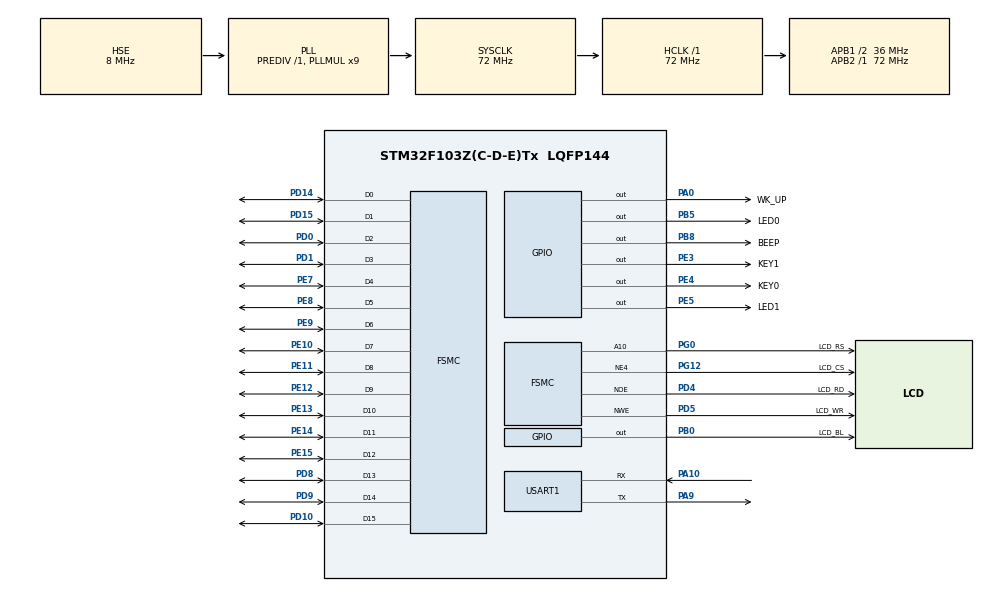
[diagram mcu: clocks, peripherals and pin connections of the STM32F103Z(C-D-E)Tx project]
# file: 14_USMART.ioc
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FSMC.AddressSetupTime1=0
FSMC.BusTurnAroundDuration1=15
FSMC.DataSetupTime1=15
FSMC.ExtendedAddressSetupTime1=0
FSMC.ExtendedDataSetupTime1=1
FSMC.ExtendedMode1=FSMC_EXTENDED_MODE_ENABLE
Mcu.Family=STM32F1
Mcu.Name=STM32F103Z(C-D-E)Tx
Mcu.Package=LQFP144
NVIC.PriorityGroup=NVIC_PRIORITYGROUP_2
NVIC.TIM4_IRQn=true\:2\:1\:true\:false\:true\:true\:true\:true
NVIC.USART1_IRQn=true\:2\:2\:true\:false\:true\:true\:true\:true
OSC_IN.Mode=HSE-External-Oscillator
OSC_IN.Signal=RCC_OSC_IN
OSC_OUT.Mode=HSE-External-Oscillator
OSC_OUT.Signal=RCC_OSC_OUT
PA0-WKUP.GPIO_Label=WK_UP
PA0-WKUP.GPIO_PuPd=GPIO_PULLDOWN
PA0-WKUP.GPIO_Speed=GPIO_SPEED_FREQ_HIGH
PA0-WKUP.PinState=GPIO_PIN_RESET
PA0-WKUP.Signal=GPIO_Output
PA10.Mode=Asynchronous
PA10.Signal=USART1_RX
PA13.Mode=Serial_Wire
PA13.Signal=SYS_JTMS-SWDIO
PA14.Mode=Serial_Wire
PA14.Signal=SYS_JTCK-SWCLK
PA9.Mode=Asynchronous
PA9.Signal=USART1_TX
PB0.GPIO_Label=LCD_BL
PB0.GPIO_PuPd=GPIO_PULLUP
PB0.GPIO_Speed=GPIO_SPEED_FREQ_HIGH
PB0.PinState=GPIO_PIN_SET
PB0.Signal=GPIO_Output
PB5.GPIO_Label=LED0
PB5.GPIO_PuPd=GPIO_PULLUP
PB5.GPIO_Speed=GPIO_SPEED_FREQ_HIGH
PB5.PinState=GPIO_PIN_SET
PB5.Signal=GPIO_Output
PB8.GPIO_Label=BEEP
PB8.GPIO_ModeDefaultOutputPP=GPIO_MODE_OUTPUT_PP
PB8.GPIO_PuPd=GPIO_PULLDOWN
PB8.GPIO_Speed=GPIO_SPEED_FREQ_HIGH
PB8.PinState=GPIO_PIN_RESET
PB8.Signal=GPIO_Output
PC14-OSC32_IN.Mode=LSE-External-Oscillator
PC14-OSC32_IN.Signal=RCC_OSC32_IN
PC15-OSC32_OUT.Mode=LSE-External-Oscillator
PC15-OSC32_OUT.Signal=RCC_OSC32_OUT
PD0.Signal=FSMC_D2_DA2
PD1.Signal=FSMC_D3_DA3
PD10.Signal=FSMC_D15_DA15
PD14.Signal=FSMC_D0_DA0
PD15.Signal=FSMC_D1_DA1
PD4.GPIO_Label=LCD_RD
PD4.Signal=FSMC_NOE
PD5.GPIO_Label=LCD_WR
PD5.Signal=FSMC_NWE
PD8.Signal=FSMC_D13_DA13
PD9.Signal=FSMC_D14_DA14
PE10.Signal=FSMC_D7_DA7
PE11.Signal=FSMC_D8_DA8
PE12.Signal=FSMC_D9_DA9
PE13.Signal=FSMC_D10_DA10
PE14.Signal=FSMC_D11_DA11
PE15.Signal=FSMC_D12_DA12
PE3.GPIO_Label=KEY1
PE3.GPIO_PuPd=GPIO_PULLUP
PE3.GPIO_Speed=GPIO_SPEED_FREQ_HIGH
PE3.PinState=GPIO_PIN_SET
PE3.Signal=GPIO_Output
PE4.GPIO_Label=KEY0
PE4.GPIO_PuPd=GPIO_PULLUP
PE4.GPIO_Speed=GPIO_SPEED_FREQ_HIGH
PE4.PinState=GPIO_PIN_SET
PE4.Signal=GPIO_Output
PE5.GPIO_Label=LED1
PE5.GPIO_PuPd=GPIO_PULLUP
PE5.GPIO_Speed=GPIO_SPEED_FREQ_HIGH
PE5.PinState=GPIO_PIN_SET
PE5.Signal=GPIO_Output
PE7.Signal=FSMC_D4_DA4
PE8.Signal=FSMC_D5_DA5
PE9.Signal=FSMC_D6_DA6
PG0.GPIO_Label=LCD_RS
PG0.Signal=FSMC_A10
PG12.GPIO_Label=LCD_CS
PG12.Mode=NorPsramChipSelect4_1
PG12.Signal=FSMC_NE4
ProjectManager.HeapSize=0x200
ProjectManager.StackSize=0x400
ProjectManager.TargetToolchain=STM32CubeIDE
RCC.AHBFreq_Value=72000000
RCC.APB1CLKDivider=RCC_HCLK_DIV2
RCC.APB1Freq_Value=36000000
RCC.APB1TimFreq_Value=72000000
RCC.APB2Freq_Value=72000000
RCC.APB2TimFreq_Value=72000000
RCC.HCLKFreq_Value=72000000
RCC.PLLMUL=RCC_PLL_MUL9
RCC.PLLSourceVirtual=RCC_PLLSOURCE_HSE
RCC.SYSCLKFreq_VALUE=72000000
RCC.SYSCLKSource=RCC_SYSCLKSOURCE_PLLCLK
RCC.USBFreq_Value=72000000
SH.FSMC_A10.0=FSMC_A10,A10_1
SH.FSMC_D0_DA0.0=FSMC_D0,16b-d1
SH.FSMC_D10_DA10.0=FSMC_D10,16b-d1
SH.FSMC_D11_DA11.0=FSMC_D11,16b-d1
SH.FSMC_D12_DA12.0=FSMC_D12,16b-d1
SH.FSMC_D13_DA13.0=FSMC_D13,16b-d1
SH.FSMC_D14_DA14.0=FSMC_D14,16b-d1
SH.FSMC_D15_DA15.0=FSMC_D15,16b-d1
SH.FSMC_D1_DA1.0=FSMC_D1,16b-d1
SH.FSMC_D2_DA2.0=FSMC_D2,16b-d1
SH.FSMC_D3_DA3.0=FSMC_D3,16b-d1
SH.FSMC_D4_DA4.0=FSMC_D4,16b-d1
SH.FSMC_D5_DA5.0=FSMC_D5,16b-d1
SH.FSMC_D6_DA6.0=FSMC_D6,16b-d1
SH.FSMC_D7_DA7.0=FSMC_D7,16b-d1
SH.FSMC_D8_DA8.0=FSMC_D8,16b-d1
SH.FSMC_D9_DA9.0=FSMC_D9,16b-d1
SH.FSMC_NOE.0=FSMC_NOE,Lcd1
SH.FSMC_NWE.0=FSMC_NWE,Lcd1
TIM4.AutoReloadPreload=TIM_AUTORELOAD_PRELOAD_ENABLE
TIM4.Period=1000 - 1
TIM4.Prescaler=72 - 1
USART1.VirtualMode=VM_ASYNC
VP_TIM4_VS_ClockSourceINT.Mode=Internal
board=custom

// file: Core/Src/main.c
/* USER CODE BEGIN Header */

/* USER CODE END Header */
#include "main.h"
#include "tim.h"
#include "usart.h"
#include "gpio.h"
#include "fsmc.h"

/* USER CODE BEGIN Includes */
#include "../../BSP/LED/led.h"
#include "../../BSP/KEY/key.h"
#include "../../BSP/LCD/lcd.h"
#include "../../SYSTEM/delay/delay.h"
#include "../../Middlewares/USMART/usmart.h"
/* USER CODE END Includes */

/* USER CODE BEGIN PTD */

/* LED状态设置函数 */
void led_set(uint8_t sta)
{
    LED1(sta);
}

/* 函数参数调用测试函数 */
void test_fun(void(*ledset)(uint8_t), uint8_t sta)
{
    ledset(sta);
}

/* USER CODE END PTD */

void SystemClock_Config(void);

int main(void)
{

  /* MCU Configuration--------------------------------------------------------*/

  /* Reset of all peripherals, Initializes the Flash interface and the Systick. */
  HAL_Init();

  /* Configure the system clock */
  SystemClock_Config();

  /* USER CODE BEGIN SysInit */
  delay_init(72);						   /* 初始化延时函数 */
  /* USER CODE END SysInit */

  /* Initialize all configured peripherals */
  MX_GPIO_Init();
  MX_FSMC_Init();
  MX_USART1_UART_Init();
  MX_TIM4_Init();
  /* USER CODE BEGIN 2 */
  lcd_init();                                         /* 初始化LCD */
  lcd_show_string(30, 50, 200, 16, 16, "STM32", RED);
  lcd_show_string(30, 70, 200, 16, 16, "USMART TEST", RED);
  lcd_show_string(30, 90, 200, 16, 16, "ATOM@ALIENTEK", RED);
  /* USER CODE END 2 */

  /* Infinite loop */
  /* USER CODE BEGIN WHILE */
  while (1)
  {
      LED0_TOGGLE();                  /* LED0(RED) 闪烁 */
      delay_ms(500);

    /* USER CODE END WHILE */

  }
}

void SystemClock_Config(void)
{
  RCC_OscInitTypeDef RCC_OscInitStruct = {0};
  RCC_ClkInitTypeDef RCC_ClkInitStruct = {0};

  /** Initializes the RCC Oscillators according to the specified parameters
  * in the RCC_OscInitTypeDef structure.
  */
  RCC_OscInitStruct.OscillatorType = RCC_OSCILLATORTYPE_HSE;
  RCC_OscInitStruct.HSEState = RCC_HSE_ON;
  RCC_OscInitStruct.HSEPredivValue = RCC_HSE_PREDIV_DIV1;
  RCC_OscInitStruct.HSIState = RCC_HSI_ON;
  RCC_OscInitStruct.PLL.PLLState = RCC_PLL_ON;
  RCC_OscInitStruct.PLL.PLLSource = RCC_PLLSOURCE_HSE;
  RCC_OscInitStruct.PLL.PLLMUL = RCC_PLL_MUL9;
  if (HAL_RCC_OscConfig(&RCC_OscInitStruct) != HAL_OK)
  {
    Error_Handler();
  }

  /** Initializes the CPU, AHB and APB buses clocks
  */
  RCC_ClkInitStruct.ClockType = RCC_CLOCKTYPE_HCLK|RCC_CLOCKTYPE_SYSCLK
                              |RCC_CLOCKTYPE_PCLK1|RCC_CLOCKTYPE_PCLK2;
  RCC_ClkInitStruct.SYSCLKSource = RCC_SYSCLKSOURCE_PLLCLK;
  RCC_ClkInitStruct.AHBCLKDivider = RCC_SYSCLK_DIV1;
  RCC_ClkInitStruct.APB1CLKDivider = RCC_HCLK_DIV2;
  RCC_ClkInitStruct.APB2CLKDivider = RCC_HCLK_DIV1;

  if (HAL_RCC_ClockConfig(&RCC_ClkInitStruct, FLASH_LATENCY_2) != HAL_OK)
  {
    Error_Handler();
  }
}

void Error_Handler(void)
{
  __disable_irq();
  while (1)
  {
  }
}
